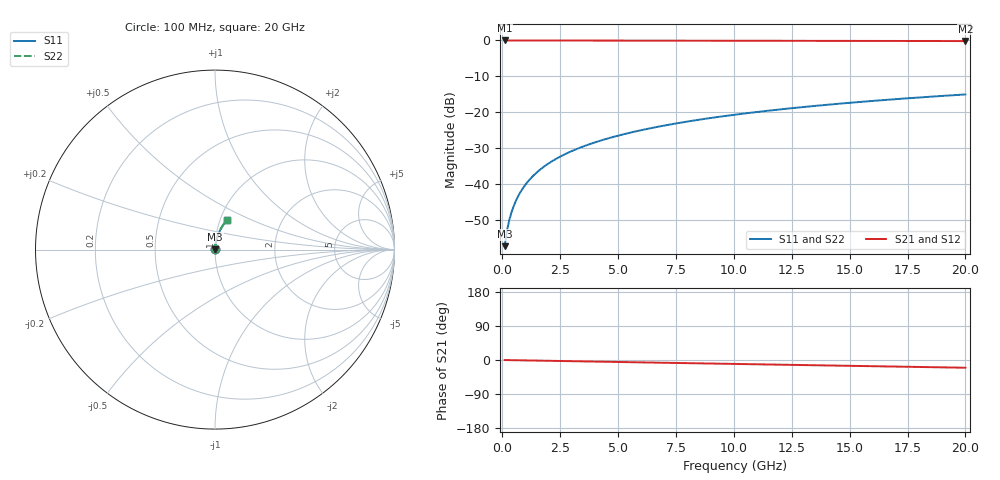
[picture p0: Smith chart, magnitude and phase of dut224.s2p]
! Touchstone file exported from HFSS 2026.1.0
!  File:  C:/ffzhzh/LocalFiles/Ansys_Project_Files/temp_train_TMRDL_224_1782984392_42984.aedt
!  Generated:  05:27:40 PM Jul  2, 2026
!  Design:  TMRDL
!  Project:  temp_train_TMRDL_224_1782984392_42984
! Variables:
!  h_bsmrdl = 2um
!  h_ox = 20um
!  h_rdl = 5um
!  h_sub = 80um
!  h_tmrdl = 5.1um
!  h_tsv = 80um
!  h_via = 3um
!  l_bsmrdl = 300um
!  l_sub = 677.2um
!  l_tmrdl = 277.2um
!  m_sub = 200um
!  pitch = 54.58um
!  r_tsv = 6um
!  s_tmrdl = 10um
!  w_bsmrdl = 18um
!  w_sub = 500um
!  w_tmrdl = 29.08um
!  x_tsv_center1 = 291.74um
!  x_tsv_center2 = 609.74um
!  x_tsv_center3 = 916.02um
!  x_tsv_center4 = 1234.02um
!  x_tsv_center5 = 1540.3um
!  x_tsv_center6 = 1858.3um
# GHz S MA R 50.000000
! Terminal data exported
! Port[1] = TM_RDL1_1_T1
! Port[2] = TM_RDL1_1_T2
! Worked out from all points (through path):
!   200 points, 100 MHz to 20 GHz, reference 50 ohm
!   highest |S21| = -0.01 dB at 100 MHz (marker M1); lowest = -0.2 dB at 20 GHz (marker M2)
!   group delay of S21, straight-line fit = 2.83 ps
!   lowest |S11| = -57.3 dB at 100 MHz (marker M3), VSWR 1.00, Z = 50.1 + j0.107 ohm
!   |S11| at or under -10 dB: start of sweep to end of sweep
!   |S22| runs from -57.3 to -15.0 dB; largest |S21 - S12| = 4.3e-15
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0.1  0.001367 51.4  0.9991 -0.1  0.9991 -0.1  0.001367 51.4
! Gamma 0 0 0 0
! Port Impedance 50 0 50 0
0.2  0.002226 65.6  0.9991 -0.2  0.9991 -0.2  0.002226 65.6
0.3  0.003134 72.3  0.999 -0.3  0.999 -0.3  0.003134 72.3
0.4  0.004068 76.0  0.999 -0.4  0.999 -0.4  0.004068 76.0
0.5  0.005017 78.3  0.9989 -0.5  0.9989 -0.5  0.005017 78.3
0.7  0.006933 80.9  0.9989 -0.7  0.9989 -0.7  0.006933 80.9
0.8  0.007896 81.7  0.9988 -0.9  0.9988 -0.9  0.007896 81.7
1  0.009823 82.7  0.9988 -1.1  0.9988 -1.1  0.009823 82.7
1.2  0.01175 83.2  0.9987 -1.3  0.9987 -1.3  0.01175 83.2
1.4  0.01367 83.6  0.9987 -1.5  0.9987 -1.5  0.01367 83.6
1.7  0.01654 83.8  0.9985 -1.8  0.9985 -1.8  0.01654 83.8
2  0.0194 83.8  0.9984 -2.1  0.9984 -2.1  0.0194 83.8
2.7  0.026 83.5  0.998 -2.9  0.998 -2.9  0.026 83.5
3.5  0.03346 83.0  0.9975 -3.7  0.9975 -3.7  0.03346 83.0
4.2  0.03991 82.5  0.997 -4.4  0.997 -4.4  0.03991 82.5
5  0.04724 81.8  0.9965 -5.2  0.9965 -5.2  0.04724 81.8
6.8  0.06355 80.3  0.9951 -7.1  0.9951 -7.1  0.06355 80.3
8.3  0.07699 78.9  0.9938 -8.6  0.9938 -8.6  0.07699 79.0
10.1  0.09296 77.3  0.9921 -10.5  0.9921 -10.5  0.09296 77.3
13.4  0.1217 74.2  0.9884 -13.8  0.9884 -13.8  0.1217 74.2
16.7  0.1498 71.1  0.9841 -17.1  0.9841 -17.1  0.1498 71.1
20  0.177 68.0  0.9792 -20.4  0.9792 -20.4  0.177 68.0
